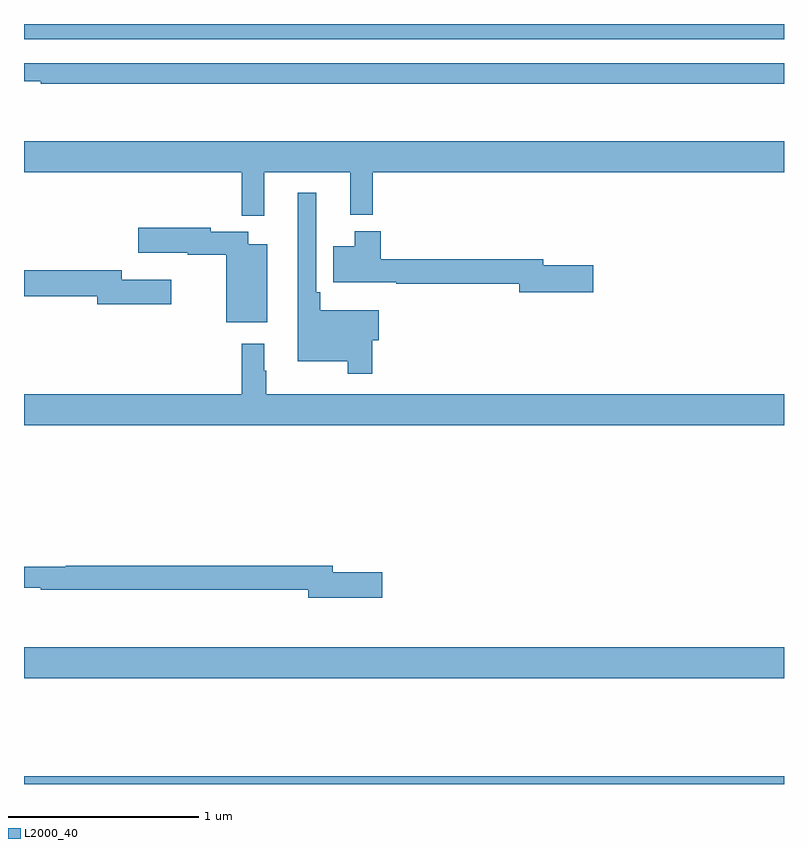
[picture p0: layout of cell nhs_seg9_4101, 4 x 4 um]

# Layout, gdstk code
import gdstk
lib = gdstk.Library(unit=1e-6, precision=1e-09)
def R(c, l, rs):  # rectangles x0, y0, x1, y1
    for r in rs: c.add(gdstk.rectangle(r[:2], r[2:], *l))
def P(c, l, *ps):  # polygons
    for p in ps: c.add(gdstk.Polygon(p, *l))
L2000_40 = (2000, 40)

nhs_seg9_4101 = lib.new_cell('nhs_seg9_4101')
R(nhs_seg9_4101, L2000_40, [(345,1226.5,349,1226.54), (345,1227.056,349,1227.22), (345,1230.42,349,1230.5)])
P(nhs_seg9_4101, L2000_40, [(349,1230.294),(345,1230.294),(345,1230.198),(345.088,1230.198),(345.088,1230.186),(349,1230.186)],
  [(346.265,1229.72),(346.718,1229.72),(346.718,1229.495),(346.835,1229.495),(346.835,1229.72),(349,1229.72),(349,1229.884),(345,1229.884),(345,1229.72),(346.147,1229.72),(346.147,1229.492),(346.265,1229.492)],
  [(346.832,1228.835),(346.867,1228.835),(346.867,1228.993),(346.559,1228.993),(346.559,1229.089),(346.539,1229.089),(346.539,1229.611),(346.442,1229.611),(346.442,1228.724),(346.704,1228.724),(346.704,1228.659),(346.832,1228.659)],
  [(346.279,1229.341),(346.18,1229.341),(346.18,1229.407),(345.984,1229.407),(345.984,1229.427),(345.6,1229.427),(345.6,1229.297),(345.862,1229.297),(345.862,1229.285),(346.064,1229.285),(346.064,1228.931),(346.279,1228.931)],
  [(347.995,1229.229),(347.734,1229.229),(347.734,1229.263),(346.877,1229.263),(346.877,1229.41),(346.742,1229.41),(346.742,1229.329),(346.628,1229.329),(346.628,1229.141),(346.96,1229.141),(346.96,1229.134),(347.606,1229.134),(347.606,1229.087),(347.995,1229.087)],
  [(345.775,1229.155),(345.514,1229.155),(345.514,1229.204),(345,1229.204),(345,1229.068),(345.386,1229.068),(345.386,1229.026),(345.775,1229.026)],
  [(349,1228.552),(346.276,1228.552),(346.276,1228.676),(346.264,1228.676),(346.264,1228.816),(346.147,1228.816),(346.147,1228.552),(345,1228.552),(345,1228.388),(349,1228.388)],
  [(346.885,1227.614),(346.624,1227.614),(346.624,1227.65),(345.22,1227.65),(345.22,1227.643),(345,1227.643),(345,1227.534),(345.088,1227.534),(345.088,1227.522),(346.496,1227.522),(346.496,1227.479),(346.885,1227.479)])

lib.write_gds('nhs_seg9_4101.gds')
